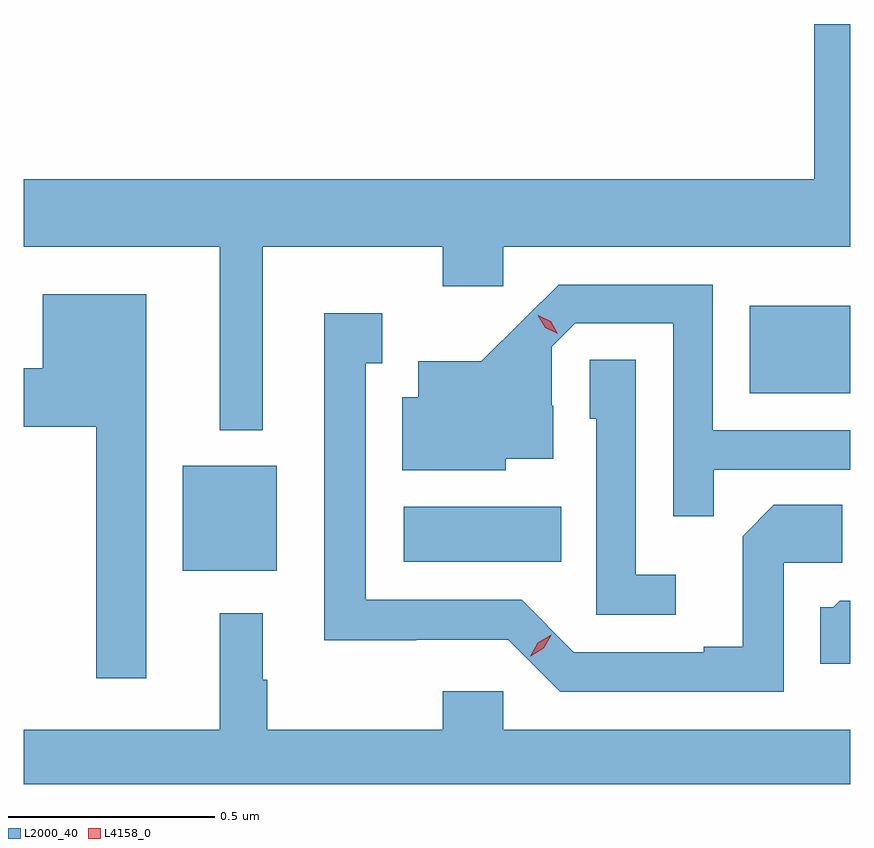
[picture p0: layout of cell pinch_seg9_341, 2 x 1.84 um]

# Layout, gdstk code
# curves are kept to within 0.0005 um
import gdstk
lib = gdstk.Library(unit=1e-6, precision=1e-09)
def R(c, l, rs):  # rectangles x0, y0, x1, y1
    for r in rs: c.add(gdstk.rectangle(r[:2], r[2:], *l))
def P(c, l, *ps):  # polygons
    for p in ps: c.add(gdstk.Polygon(p, *l))
L2000_40 = (2000, 40)
L4158_0 = (4158, 0)

pinch_seg9_341 = lib.new_cell('pinch_seg9_341')
R(pinch_seg9_341, L2000_40, [(595.049,1184.981,595.276,1185.235), (595.584,1185.002,595.964,1185.136), (596.42,1185.41,596.664,1185.622)])
P(pinch_seg9_341, L2000_40, [(595.243,1185.764),(595.678,1185.764),(595.678,1185.669),(595.824,1185.669),(595.824,1185.764),(596.664,1185.764),(596.664,1186.303),(596.576,1186.303),(596.576,1185.928),(594.664,1185.928),(594.664,1185.764),(595.139,1185.764),(595.139,1185.32),(595.243,1185.32)],
  [(596.333,1185.225),(596.664,1185.225),(596.664,1185.321),(596.331,1185.321),(596.331,1185.672),(595.958,1185.672),(595.771,1185.487),(595.619,1185.487),(595.619,1185.4),(595.58,1185.4),(595.58,1185.224),(595.83,1185.224),(595.83,1185.251),(595.945,1185.251),(595.945,1185.38),(595.941,1185.38),(595.941,1185.522),(595.998,1185.579),(596.235,1185.579),(596.235,1185.112),(596.333,1185.112)],
  [(594.961,1185.649),(594.71,1185.649),(594.71,1185.471),(594.664,1185.471),(594.664,1185.329),(594.84,1185.329),(594.84,1184.721),(594.961,1184.721)],
  [(596.502,1185),(596.644,1185),(596.644,1185.14),(596.479,1185.14),(596.403,1185.064),(596.403,1184.797),(596.309,1184.797),(596.309,1184.784),(595.995,1184.784),(595.869,1184.91),(595.492,1184.91),(595.492,1185.483),(595.531,1185.483),(595.531,1185.604),(595.391,1185.604),(595.391,1184.813),(595.614,1184.813),(595.614,1184.814),(595.836,1184.814),(595.962,1184.688),(596.502,1184.688)],
  [(596.242,1184.971),(596.145,1184.971),(596.145,1185.491),(596.034,1185.491),(596.034,1185.348),(596.049,1185.348),(596.049,1184.874),(596.242,1184.874)],
  [(596.664,1184.908),(596.638,1184.908),(596.622,1184.892),(596.591,1184.892),(596.591,1184.756),(596.664,1184.756)],
  [(596.664,1184.596),(595.824,1184.596),(595.824,1184.689),(595.678,1184.689),(595.678,1184.596),(595.253,1184.596),(595.253,1184.717),(595.243,1184.717),(595.243,1184.878),(595.139,1184.878),(595.139,1184.596),(594.664,1184.596),(594.664,1184.465),(596.664,1184.465)])
P(pinch_seg9_341, L4158_0, [(595.956,1185.554),(595.926,1185.569),(595.908,1185.599),(595.908,1185.599),(595.909,1185.599),(595.939,1185.584),(595.956,1185.554),(595.956,1185.554)],
  [(595.89,1184.774),(595.89,1184.774),(595.908,1184.807),(595.94,1184.826),(595.94,1184.826),(595.94,1184.825),(595.922,1184.793),(595.891,1184.774)])

lib.write_gds('pinch_seg9_341.gds')
